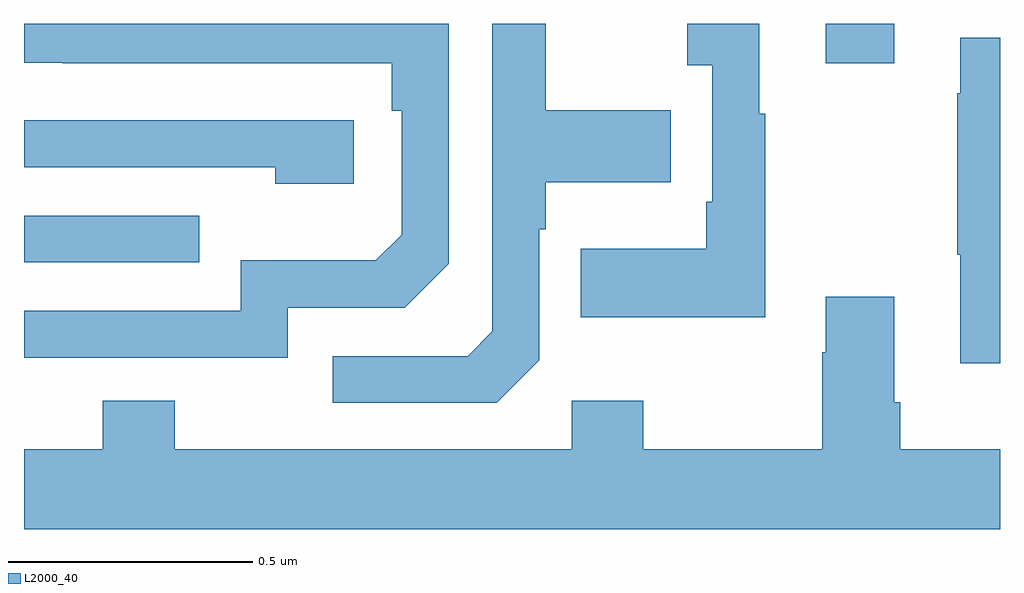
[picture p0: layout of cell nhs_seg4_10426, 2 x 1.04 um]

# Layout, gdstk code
import gdstk
lib = gdstk.Library(unit=1e-6, precision=1e-09)
def R(c, l, rs):  # rectangles x0, y0, x1, y1
    for r in rs: c.add(gdstk.rectangle(r[:2], r[2:], *l))
def P(c, l, *ps):  # polygons
    for p in ps: c.add(gdstk.Polygon(p, *l))
L2000_40 = (2000, 40)

nhs_seg4_10426 = lib.new_cell('nhs_seg4_10426')
R(nhs_seg4_10426, L2000_40, [(240,753.411,240.359,753.507), (241.643,753.819,241.783,753.9)])
P(nhs_seg4_10426, L2000_40, [(240.54,753.318),(240.78,753.318),(240.87,753.408),(240.87,753.9),(240,753.9),(240,753.82),(240.079,753.82),(240.079,753.819),(240.754,753.819),(240.754,753.722),(240.774,753.722),(240.774,753.468),(240.721,753.415),(240.444,753.415),(240.444,753.312),(240,753.312),(240,753.216),(240.54,753.216)],
  [(241.056,753.21),(241.056,753.479),(241.069,753.479),(241.069,753.575),(241.325,753.575),(241.325,753.723),(241.069,753.723),(241.069,753.9),(240.96,753.9),(240.96,753.27),(240.909,753.219),(240.633,753.219),(240.633,753.123),(240.969,753.123)],
  [(241.519,753.715),(241.507,753.715),(241.507,753.9),(241.359,753.9),(241.359,753.815),(241.41,753.815),(241.41,753.535),(241.398,753.535),(241.398,753.439),(241.141,753.439),(241.141,753.299),(241.519,753.299)],
  [(242,753.871),(241.919,753.871),(241.919,753.758),(241.912,753.758),(241.912,753.427),(241.919,753.427),(241.919,753.204),(242,753.204)],
  [(240.676,753.702),(240,753.702),(240,753.606),(240.515,753.606),(240.515,753.572),(240.676,753.572)],
  [(242,753.028),(241.796,753.028),(241.796,753.124),(241.783,753.124),(241.783,753.34),(241.643,753.34),(241.643,753.227),(241.636,753.227),(241.636,753.028),(241.269,753.028),(241.269,753.127),(241.122,753.127),(241.122,753.028),(240.309,753.028),(240.309,753.127),(240.161,753.127),(240.161,753.028),(240,753.028),(240,752.864),(242,752.864)])

lib.write_gds('nhs_seg4_10426.gds')
